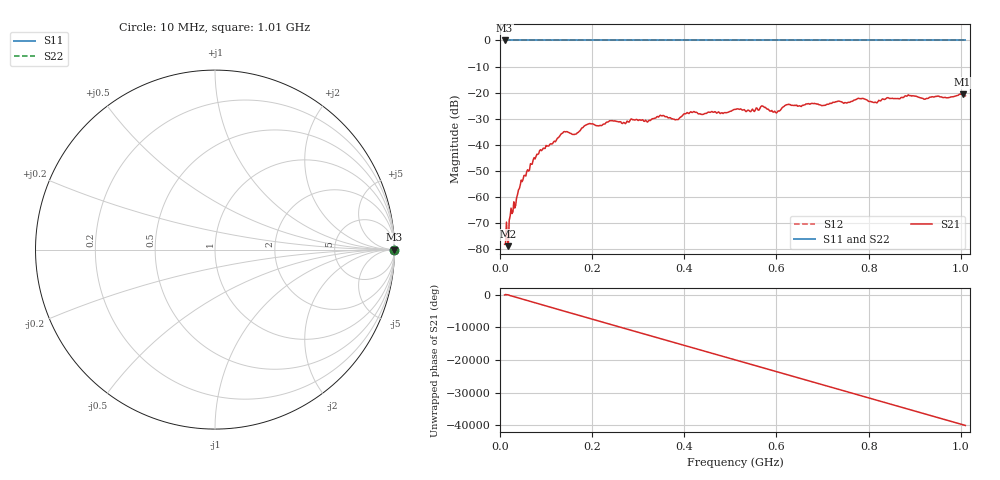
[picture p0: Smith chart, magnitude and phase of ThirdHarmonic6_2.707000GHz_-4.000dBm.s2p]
! 8/17/2025 6:30:58 AM
! C:\ANRITSUVNA\TEMP\TEMP.S2P
! CHANNEL.1
! TR.MEASUREMENT
! RAW.DATA
! RF.CORRECTION.OFF
! AVERAGING.OFF
! IF.BANDWIDTH: 5KHZ
! SWEEPTYPE:  FREQ.SWEEP(Linear)
! Reference Plane Port Info
! PORT:  PORT1  PORT2
! DISTANCE:  0  m  0  m
! TIME:  0  s  0  s
! PHASE.OFFSET:  0  deg.  0  deg.
! LOSS:  0  dB  0  dB
! REF.LOSS:  0  dB  0  dB
! REF.FREQ:  0  Hz  0  Hz
! Power Info
! POWER:  -20  dBm  -20  dBm
! EFF.POWER:  -20  dBm  -20  dBm
! SOURCE.ATTEN:  0  dB  0  dB
! TEST.ATTEN:  0  dB  0  dB
# GHZ S RI R 50.0
! FREQ.GHZ  S11RE  S11IM  S21RE  S21IM  S12RE  S12IM  S22RE  S22IM
!; PortSelection: Port_12
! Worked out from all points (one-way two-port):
!   501 points, 10 MHz to 1.01 GHz, reference 50 ohm
!   highest |S21| = -20.59 dB at 1.004 GHz (marker M1); lowest = -78.9 dB at 18 MHz (marker M2)
!   lowest |S11| = 0.0 dB at 10 MHz (marker M3)
!   |S11| at or under -10 dB: nowhere
!   |S22| runs from 0.0 to 0.0 dB; largest |S21 - S12| = 1.1
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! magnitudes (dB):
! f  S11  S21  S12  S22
! 10 MHz  0.0  -78.2  0.0  0.0
! 14 MHz  0.0  -69.7  0.0  0.0
! 18 MHz  0.0  -78.9  0.0  0.0
! 26 MHz  0.0  -66.4  0.0  0.0
! 44 MHz  0.0  -55.4  0.0  0.0
! 76 MHz  0.0  -45.5  0.0  0.0
! 136 MHz  0.0  -35.5  0.0  0.0
! 162 MHz  0.0  -36.0  0.0  0.0
! 178 MHz  0.0  -33.5  0.0  0.0
! 344 MHz  0.0  -29.4  0.0  0.0
! 384 MHz  0.0  -30.3  0.0  0.0
! 416 MHz  0.0  -27.6  0.0  0.0
! 510 MHz  0.0  -26.4  0.0  0.0
! 570 MHz  0.0  -25.2  0.0  0.0
! 598 MHz  0.0  -27.6  0.0  0.0
! 624 MHz  0.0  -24.6  0.0  0.0
! 678 MHz  0.0  -24.2  0.0  0.0
! 782 MHz  0.0  -22.3  0.0  0.0
! 814 MHz  0.0  -23.7  0.0  0.0
! 844 MHz  0.0  -22.1  0.0  0.0
! 1.004 GHz  0.0  -20.6  0.0  0.0
! 1.01 GHz  0.0  -21.2  0.0  0.0
